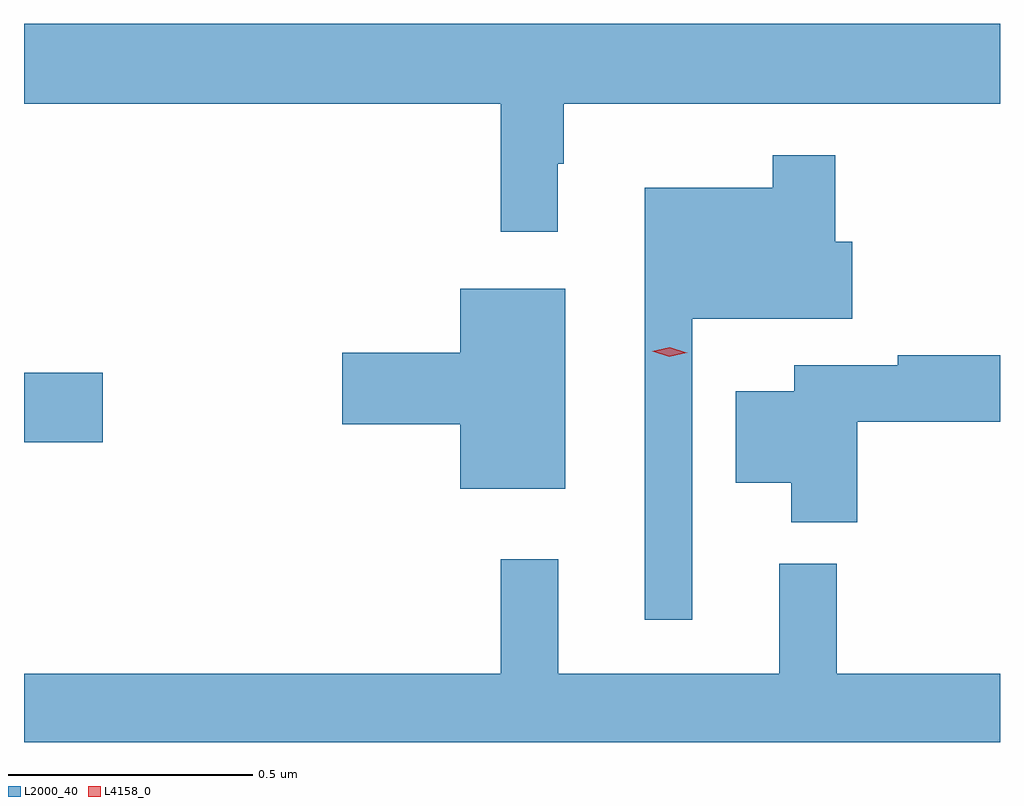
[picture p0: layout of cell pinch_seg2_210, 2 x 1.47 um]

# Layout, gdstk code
import gdstk
lib = gdstk.Library(unit=1e-6, precision=1e-09)
def R(c, l, rs):  # rectangles x0, y0, x1, y1
    for r in rs: c.add(gdstk.rectangle(r[:2], r[2:], *l))
def P(c, l, *ps):  # polygons
    for p in ps: c.add(gdstk.Polygon(p, *l))
L2000_40 = (2000, 40)
L4158_0 = (4158, 0)

pinch_seg2_210 = lib.new_cell('pinch_seg2_210')
R(pinch_seg2_210, L2000_40, [(976.538,660.262,976.699,660.404)])
P(pinch_seg2_210, L2000_40, [(977.632,660.833),(977.644,660.833),(977.644,660.956),(978.538,660.956),(978.538,661.12),(976.538,661.12),(976.538,660.956),(977.515,660.956),(977.515,660.693),(977.632,660.693)],
  [(977.907,660.515),(978.235,660.515),(978.235,660.673),(978.2,660.673),(978.2,660.85),(978.072,660.85),(978.072,660.784),(977.81,660.784),(977.81,659.898),(977.907,659.898)],
  [(977.647,660.577),(977.432,660.577),(977.432,660.446),(977.19,660.446),(977.19,660.299),(977.432,660.299),(977.432,660.167),(977.647,660.167)],
  [(978.245,660.304),(978.538,660.304),(978.538,660.44),(978.328,660.44),(978.328,660.42),(978.116,660.42),(978.116,660.367),(977.996,660.367),(977.996,660.179),(978.11,660.179),(978.11,660.098),(978.245,660.098)],
  [(978.538,659.788),(978.203,659.788),(978.203,660.013),(978.086,660.013),(978.086,659.788),(977.633,659.788),(977.633,660.022),(977.515,660.022),(977.515,659.788),(976.538,659.788),(976.538,659.647),(978.538,659.647)])
P(pinch_seg2_210, L4158_0, [(977.86,660.437),(977.825,660.449),(977.825,660.449),(977.825,660.449),(977.861,660.457),(977.896,660.446),(977.897,660.446),(977.896,660.446)])

lib.write_gds('pinch_seg2_210.gds')
